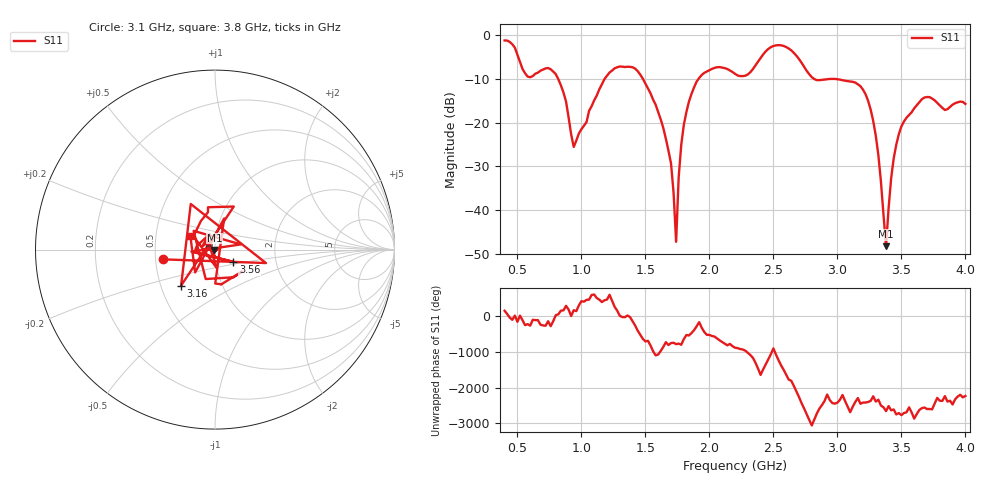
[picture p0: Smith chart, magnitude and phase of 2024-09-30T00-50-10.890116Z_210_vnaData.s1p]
!Created with skrf (http://scikit-rf.org).
# Hz S RI R 50.0
!freq ReS11 ImS11
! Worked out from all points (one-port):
!   181 points, 400 MHz to 4 GHz, reference 50 ohm
!   lowest |S11| = -48.2 dB at 3.38 GHz (marker M1), VSWR 1.01, Z = 49.7 - j0.255 ohm
!   |S11| at or under -10 dB: 819 MHz to 1.18 GHz (361.4 MHz wide, 36.2 % of centre); 1.481 GHz to 1.914 GHz (433 MHz wide, 25.5 % of centre); 2.989 GHz to end of sweep (the widest 3 of 4)
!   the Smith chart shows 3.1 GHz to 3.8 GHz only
!   S11 on the Smith chart (normalised r, x): 3.1 GHz: 0.55, -0.06; 3.16 GHz: 0.64, -0.28; 3.56 GHz: 1.21, -0.17; 3.8 GHz: 0.75, +0.12
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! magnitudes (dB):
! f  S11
! 400 MHz  -1.2
! 580 MHz  -9.4
! 740 MHz  -7.5
! 860 MHz  -13.1
! 940 MHz  -25.5
! 1.18 GHz  -10.0
! 1.3 GHz  -7.1
! 1.44 GHz  -8.2
! 1.62 GHz  -19.3
! 1.7 GHz  -29.3
! 1.74 GHz  -47.2
! 1.76 GHz  -32.4
! 1.8 GHz  -20.5
! 1.9 GHz  -10.6
! 2.2 GHz  -8.8
! 2.5 GHz  -2.5
! 2.66 GHz  -4.0
! 2.82 GHz  -10.0
! 3.1 GHz  -10.6
! 3.16 GHz  -11.2
! 3.24 GHz  -15.0
! 3.3 GHz  -23.0
! 3.38 GHz  -48.2
! 3.44 GHz  -28.1
! 3.56 GHz  -18.2
! 3.68 GHz  -14.2
! 3.8 GHz  -16.0
! 4 GHz  -15.7
